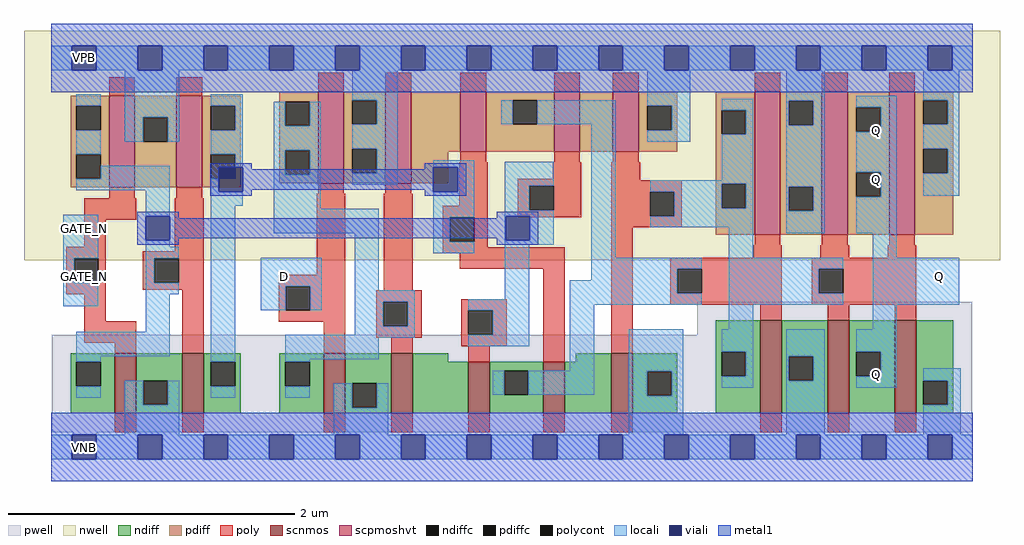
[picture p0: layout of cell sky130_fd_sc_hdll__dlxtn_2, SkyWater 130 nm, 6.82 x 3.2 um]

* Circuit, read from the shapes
.subckt sky130_fd_sc_hdll__dlxtn_2 D GATE_N VGND VNB VPB VPWR Q
XM1 VGND GATE_N n1 VNB sky130_fd_pr__nfet_01v8 w=0.42 l=0.15
XM2 n2 n1 VGND VNB sky130_fd_pr__nfet_01v8 w=0.42 l=0.15
XM3 VGND D n3 VNB sky130_fd_pr__nfet_01v8 w=0.42 l=0.15
XM4 n4 n3 VGND VNB sky130_fd_pr__nfet_01v8 w=0.42 l=0.15
XM5 n5 n1 n4 VNB sky130_fd_pr__nfet_01v8 w=0.36 l=0.15
XM6 n6 n2 n5 VNB sky130_fd_pr__nfet_01v8 w=0.36 l=0.15
XM7 VGND n7 n6 VNB sky130_fd_pr__nfet_01v8 w=0.42 l=0.15
XM8 VGND n5 n7 VNB sky130_fd_pr__nfet_01v8 w=0.65 l=0.15
XM9 Q n7 VGND VNB sky130_fd_pr__nfet_01v8 w=0.65 l=0.15 m=2
XM10 VPWR GATE_N n1 VPB sky130_fd_pr__pfet_01v8_hvt w=0.64 l=0.18
XM11 n2 n1 VPWR VPB sky130_fd_pr__pfet_01v8_hvt w=0.64 l=0.18
XM12 VPWR D n3 VPB sky130_fd_pr__pfet_01v8_hvt w=0.64 l=0.18
XM13 n8 n3 VPWR VPB sky130_fd_pr__pfet_01v8_hvt w=0.64 l=0.18
XM14 n5 n2 n8 VPB sky130_fd_pr__pfet_01v8_hvt w=0.42 l=0.18
XM15 n9 n1 n5 VPB sky130_fd_pr__pfet_01v8_hvt w=0.42 l=0.18
XM16 VPWR n7 n9 VPB sky130_fd_pr__pfet_01v8_hvt w=0.42 l=0.18
XM17 VPWR n5 n7 VPB sky130_fd_pr__pfet_01v8_hvt w=1 l=0.18
XM18 Q n7 VPWR VPB sky130_fd_pr__pfet_01v8_hvt w=1 l=0.18 m=2
.ends

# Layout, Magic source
magic
tech sky130A
magscale 1 2
<< nwell >>
rect -38 261 1326 582
<< pwell >>
rect 903 157 1287 203
rect 1 21 1287 157
rect 30 -17 64 21
<< scnmos >>
rect 89 47 119 131
rect 183 47 213 131
rect 381 47 411 131
rect 475 47 505 131
rect 583 47 613 119
rect 688 47 718 119
rect 783 47 813 131
rect 991 47 1021 177
rect 1085 47 1115 177
rect 1179 47 1209 177
<< scpmoshvt >>
rect 81 363 117 491
rect 175 363 211 491
rect 373 369 409 497
rect 467 369 503 497
rect 572 413 608 497
rect 703 413 739 497
rect 785 413 821 497
rect 983 297 1019 497
rect 1077 297 1113 497
rect 1171 297 1207 497
<< ndiff >>
rect 27 119 89 131
rect 27 85 35 119
rect 69 85 89 119
rect 27 47 89 85
rect 119 93 183 131
rect 119 59 129 93
rect 163 59 183 93
rect 119 47 183 59
rect 213 119 265 131
rect 213 85 223 119
rect 257 85 265 119
rect 213 47 265 85
rect 319 119 381 131
rect 319 85 327 119
rect 361 85 381 119
rect 319 47 381 85
rect 411 89 475 131
rect 411 55 421 89
rect 455 55 475 89
rect 411 47 475 55
rect 505 119 555 131
rect 929 133 991 177
rect 733 119 783 131
rect 505 47 583 119
rect 613 107 688 119
rect 613 73 633 107
rect 667 73 688 107
rect 613 47 688 73
rect 718 47 783 119
rect 813 106 875 131
rect 813 72 833 106
rect 867 72 875 106
rect 813 47 875 72
rect 929 99 937 133
rect 971 99 991 133
rect 929 47 991 99
rect 1021 127 1085 177
rect 1021 93 1031 127
rect 1065 93 1085 127
rect 1021 47 1085 93
rect 1115 133 1179 177
rect 1115 99 1125 133
rect 1159 99 1179 133
rect 1115 47 1179 99
rect 1209 93 1261 177
rect 1209 59 1219 93
rect 1253 59 1261 93
rect 1209 47 1261 59
<< pdiff >>
rect 27 477 81 491
rect 27 443 35 477
rect 69 443 81 477
rect 27 409 81 443
rect 27 375 35 409
rect 69 375 81 409
rect 27 363 81 375
rect 117 461 175 491
rect 117 427 129 461
rect 163 427 175 461
rect 117 363 175 427
rect 211 477 265 491
rect 211 443 223 477
rect 257 443 265 477
rect 211 409 265 443
rect 211 375 223 409
rect 257 375 265 409
rect 211 363 265 375
rect 319 483 373 497
rect 319 449 327 483
rect 361 449 373 483
rect 319 415 373 449
rect 319 381 327 415
rect 361 381 373 415
rect 319 369 373 381
rect 409 485 467 497
rect 409 451 421 485
rect 455 451 467 485
rect 409 417 467 451
rect 409 383 421 417
rect 455 383 467 417
rect 409 369 467 383
rect 503 413 572 497
rect 608 485 703 497
rect 608 451 645 485
rect 679 451 703 485
rect 608 413 703 451
rect 739 413 785 497
rect 821 477 875 497
rect 821 443 833 477
rect 867 443 875 477
rect 821 413 875 443
rect 929 471 983 497
rect 929 437 937 471
rect 971 437 983 471
rect 503 369 555 413
rect 929 368 983 437
rect 929 334 937 368
rect 971 334 983 368
rect 929 297 983 334
rect 1019 484 1077 497
rect 1019 450 1031 484
rect 1065 450 1077 484
rect 1019 364 1077 450
rect 1019 330 1031 364
rect 1065 330 1077 364
rect 1019 297 1077 330
rect 1113 475 1171 497
rect 1113 441 1125 475
rect 1159 441 1171 475
rect 1113 384 1171 441
rect 1113 350 1125 384
rect 1159 350 1171 384
rect 1113 297 1171 350
rect 1207 485 1261 497
rect 1207 451 1219 485
rect 1253 451 1261 485
rect 1207 417 1261 451
rect 1207 383 1219 417
rect 1253 383 1261 417
rect 1207 297 1261 383
<< ndiffc >>
rect 35 85 69 119
rect 129 59 163 93
rect 223 85 257 119
rect 327 85 361 119
rect 421 55 455 89
rect 633 73 667 107
rect 833 72 867 106
rect 937 99 971 133
rect 1031 93 1065 127
rect 1125 99 1159 133
rect 1219 59 1253 93
<< pdiffc >>
rect 35 443 69 477
rect 35 375 69 409
rect 129 427 163 461
rect 223 443 257 477
rect 223 375 257 409
rect 327 449 361 483
rect 327 381 361 415
rect 421 451 455 485
rect 421 383 455 417
rect 645 451 679 485
rect 833 443 867 477
rect 937 437 971 471
rect 937 334 971 368
rect 1031 450 1065 484
rect 1031 330 1065 364
rect 1125 441 1159 475
rect 1125 350 1159 384
rect 1219 451 1253 485
rect 1219 383 1253 417
<< poly >>
rect 81 491 117 517
rect 175 491 211 517
rect 373 497 409 523
rect 467 497 503 523
rect 572 497 608 523
rect 703 497 739 523
rect 785 497 821 523
rect 983 497 1019 523
rect 1077 497 1113 523
rect 1171 497 1207 523
rect 572 398 608 413
rect 703 398 739 413
rect 785 398 821 413
rect 81 348 117 363
rect 175 348 211 363
rect 373 354 409 369
rect 467 354 503 369
rect 46 318 119 348
rect 46 280 76 318
rect 21 264 76 280
rect 173 274 213 348
rect 21 230 32 264
rect 66 230 76 264
rect 21 214 76 230
rect 128 264 213 274
rect 128 230 144 264
rect 178 230 213 264
rect 371 241 411 354
rect 128 220 213 230
rect 46 176 76 214
rect 46 146 119 176
rect 89 131 119 146
rect 183 131 213 220
rect 318 225 411 241
rect 318 191 328 225
rect 362 191 411 225
rect 465 219 505 354
rect 570 337 610 398
rect 701 375 741 398
rect 547 321 610 337
rect 652 365 741 375
rect 652 331 668 365
rect 702 331 741 365
rect 652 321 741 331
rect 783 373 823 398
rect 783 357 881 373
rect 783 323 837 357
rect 871 323 881 357
rect 547 287 557 321
rect 591 287 610 321
rect 547 279 610 287
rect 783 307 881 323
rect 547 271 718 279
rect 571 249 718 271
rect 318 175 411 191
rect 381 131 411 175
rect 454 203 518 219
rect 454 169 464 203
rect 498 169 518 203
rect 454 153 518 169
rect 573 191 637 207
rect 573 157 583 191
rect 617 157 637 191
rect 475 131 505 153
rect 573 141 637 157
rect 583 119 613 141
rect 688 119 718 249
rect 783 131 813 307
rect 983 282 1019 297
rect 1077 282 1113 297
rect 1171 282 1207 297
rect 981 265 1021 282
rect 1075 265 1115 282
rect 1169 265 1209 282
rect 865 249 1021 265
rect 865 215 875 249
rect 909 215 1021 249
rect 865 199 1021 215
rect 1063 249 1209 265
rect 1063 215 1073 249
rect 1107 215 1209 249
rect 1063 199 1209 215
rect 991 177 1021 199
rect 1085 177 1115 199
rect 1179 177 1209 199
rect 89 21 119 47
rect 183 21 213 47
rect 381 21 411 47
rect 475 21 505 47
rect 583 21 613 47
rect 688 21 718 47
rect 783 21 813 47
rect 991 21 1021 47
rect 1085 21 1115 47
rect 1179 21 1209 47
<< polycont >>
rect 32 230 66 264
rect 144 230 178 264
rect 328 191 362 225
rect 668 331 702 365
rect 837 323 871 357
rect 557 287 591 321
rect 464 169 498 203
rect 583 157 617 191
rect 875 215 909 249
rect 1073 215 1107 249
<< locali >>
rect 0 527 29 561
rect 63 527 121 561
rect 155 527 213 561
rect 247 527 305 561
rect 339 527 397 561
rect 431 527 489 561
rect 523 527 581 561
rect 615 527 673 561
rect 707 527 765 561
rect 799 527 857 561
rect 891 527 949 561
rect 983 527 1041 561
rect 1075 527 1133 561
rect 1167 527 1225 561
rect 1259 527 1288 561
rect 35 477 69 493
rect 35 409 69 443
rect 103 461 179 527
rect 103 427 129 461
rect 163 427 179 461
rect 223 477 268 493
rect 421 485 484 527
rect 257 443 268 477
rect 223 409 268 443
rect 69 375 166 393
rect 35 359 166 375
rect 17 264 66 325
rect 17 230 32 264
rect 17 197 66 230
rect 132 323 166 359
rect 132 280 166 289
rect 257 391 268 409
rect 223 357 234 375
rect 223 337 268 357
rect 311 449 327 483
rect 361 449 377 483
rect 311 415 377 449
rect 311 381 327 415
rect 361 381 377 415
rect 132 264 178 280
rect 132 230 144 264
rect 132 214 178 230
rect 132 161 166 214
rect 35 127 166 161
rect 35 119 69 127
rect 223 119 257 337
rect 311 333 377 381
rect 455 451 484 485
rect 629 451 645 485
rect 679 451 789 485
rect 421 417 484 451
rect 455 383 484 417
rect 421 367 484 383
rect 534 391 591 401
rect 568 357 591 391
rect 311 299 458 333
rect 293 225 378 265
rect 293 191 328 225
rect 362 191 378 225
rect 424 219 458 299
rect 534 321 591 357
rect 534 287 557 321
rect 534 271 591 287
rect 634 365 702 399
rect 634 331 668 365
rect 634 323 702 331
rect 634 289 635 323
rect 669 289 702 323
rect 634 283 702 289
rect 424 203 508 219
rect 634 207 668 283
rect 755 265 789 451
rect 833 477 893 527
rect 867 443 893 477
rect 833 427 893 443
rect 937 471 981 487
rect 971 437 981 471
rect 937 373 981 437
rect 837 368 981 373
rect 837 357 937 368
rect 871 334 937 357
rect 971 334 981 368
rect 871 323 981 334
rect 837 307 981 323
rect 947 265 981 307
rect 1027 484 1081 527
rect 1027 450 1031 484
rect 1065 450 1081 484
rect 1027 364 1081 450
rect 1027 330 1031 364
rect 1065 330 1081 364
rect 1027 299 1081 330
rect 1125 475 1182 491
rect 1159 441 1182 475
rect 1125 384 1182 441
rect 1159 350 1182 384
rect 1219 485 1269 527
rect 1253 451 1269 485
rect 1219 417 1269 451
rect 1253 383 1269 417
rect 1219 351 1269 383
rect 1125 299 1182 350
rect 1148 265 1182 299
rect 755 249 909 265
rect 755 233 875 249
rect 424 169 464 203
rect 498 169 508 203
rect 424 157 508 169
rect 35 69 69 85
rect 103 59 129 93
rect 163 59 179 93
rect 223 69 257 85
rect 327 153 508 157
rect 583 191 668 207
rect 617 157 668 191
rect 327 123 458 153
rect 583 141 668 157
rect 725 215 875 233
rect 725 199 909 215
rect 947 249 1107 265
rect 947 215 1073 249
rect 947 199 1107 215
rect 1148 199 1269 265
rect 327 119 361 123
rect 725 107 759 199
rect 947 165 981 199
rect 1148 165 1182 199
rect 327 69 361 85
rect 103 17 179 59
rect 395 55 421 89
rect 455 55 471 89
rect 617 73 633 107
rect 667 73 759 107
rect 807 106 883 165
rect 395 17 471 55
rect 807 72 833 106
rect 867 72 883 106
rect 937 133 981 165
rect 971 99 981 133
rect 937 83 981 99
rect 1027 127 1081 165
rect 1027 93 1031 127
rect 1065 93 1081 127
rect 807 17 883 72
rect 1027 17 1081 93
rect 1125 133 1182 165
rect 1159 99 1182 133
rect 1125 83 1182 99
rect 1219 93 1271 110
rect 1253 59 1271 93
rect 1219 17 1271 59
rect 0 -17 29 17
rect 63 -17 121 17
rect 155 -17 213 17
rect 247 -17 305 17
rect 339 -17 397 17
rect 431 -17 489 17
rect 523 -17 581 17
rect 615 -17 673 17
rect 707 -17 765 17
rect 799 -17 857 17
rect 891 -17 949 17
rect 983 -17 1041 17
rect 1075 -17 1133 17
rect 1167 -17 1225 17
rect 1259 -17 1288 17
<< viali >>
rect 29 527 63 561
rect 121 527 155 561
rect 213 527 247 561
rect 305 527 339 561
rect 397 527 431 561
rect 489 527 523 561
rect 581 527 615 561
rect 673 527 707 561
rect 765 527 799 561
rect 857 527 891 561
rect 949 527 983 561
rect 1041 527 1075 561
rect 1133 527 1167 561
rect 1225 527 1259 561
rect 132 289 166 323
rect 234 375 257 391
rect 257 375 268 391
rect 234 357 268 375
rect 534 357 568 391
rect 635 289 669 323
rect 29 -17 63 17
rect 121 -17 155 17
rect 213 -17 247 17
rect 305 -17 339 17
rect 397 -17 431 17
rect 489 -17 523 17
rect 581 -17 615 17
rect 673 -17 707 17
rect 765 -17 799 17
rect 857 -17 891 17
rect 949 -17 983 17
rect 1041 -17 1075 17
rect 1133 -17 1167 17
rect 1225 -17 1259 17
<< metal1 >>
rect 0 561 1288 592
rect 0 527 29 561
rect 63 527 121 561
rect 155 527 213 561
rect 247 527 305 561
rect 339 527 397 561
rect 431 527 489 561
rect 523 527 581 561
rect 615 527 673 561
rect 707 527 765 561
rect 799 527 857 561
rect 891 527 949 561
rect 983 527 1041 561
rect 1075 527 1133 561
rect 1167 527 1225 561
rect 1259 527 1288 561
rect 0 496 1288 527
rect 222 391 280 397
rect 222 357 234 391
rect 268 388 280 391
rect 522 391 580 397
rect 522 388 534 391
rect 268 360 534 388
rect 268 357 280 360
rect 222 351 280 357
rect 522 357 534 360
rect 568 357 580 391
rect 522 351 580 357
rect 120 323 178 329
rect 120 289 132 323
rect 166 320 178 323
rect 623 323 681 329
rect 623 320 635 323
rect 166 292 635 320
rect 166 289 178 292
rect 120 283 178 289
rect 623 289 635 292
rect 669 289 681 323
rect 623 283 681 289
rect 0 17 1288 48
rect 0 -17 29 17
rect 63 -17 121 17
rect 155 -17 213 17
rect 247 -17 305 17
rect 339 -17 397 17
rect 431 -17 489 17
rect 523 -17 581 17
rect 615 -17 673 17
rect 707 -17 765 17
rect 799 -17 857 17
rect 891 -17 949 17
rect 983 -17 1041 17
rect 1075 -17 1133 17
rect 1167 -17 1225 17
rect 1259 -17 1288 17
rect 0 -48 1288 -17
<< labels >>
flabel locali s 309 221 343 255 0 FreeSans 200 0 0 0 D
port 1 nsew signal input
flabel locali s 30 221 64 255 0 FreeSans 200 0 0 0 GATE_N
port 2 nsew signal input
flabel locali s 1136 357 1170 391 0 FreeSans 200 0 0 0 Q
port 7 nsew signal output
flabel locali s 30 289 64 323 0 FreeSans 200 0 0 0 GATE_N
port 2 nsew signal input
flabel locali s 1136 425 1170 459 0 FreeSans 200 0 0 0 Q
port 7 nsew signal output
flabel locali s 1136 85 1170 119 0 FreeSans 200 0 0 0 Q
port 7 nsew signal output
flabel locali s 1225 221 1259 255 0 FreeSans 200 0 0 0 Q
port 7 nsew signal output
flabel pwell s 30 -17 64 17 0 FreeSans 200 0 0 0 VNB
port 4 nsew ground bidirectional
flabel nwell s 30 527 64 561 0 FreeSans 200 0 0 0 VPB
port 5 nsew power bidirectional
flabel metal1 s 30 527 64 561 0 FreeSans 200 0 0 0 VPWR
port 6 nsew power bidirectional
flabel metal1 s 30 -17 64 17 0 FreeSans 200 0 0 0 VGND
port 3 nsew ground bidirectional
rlabel comment s 0 0 0 0 4 dlxtn_2
<< properties >>
string LEFsite unithd
string LEFclass CORE
string FIXED_BBOX 0 0 1288 544
string GDS_FILE $PDKPATH/libs.ref/sky130_fd_sc_hdll/gds/sky130_fd_sc_hdll.gds
string LEFsymmetry X Y R90
string GDS_END 1226352
string GDS_START 1215848
string LEFproperties maskLayoutSubType "abstract" prCellType "standard" originalViewName "layout"
<< end >>
